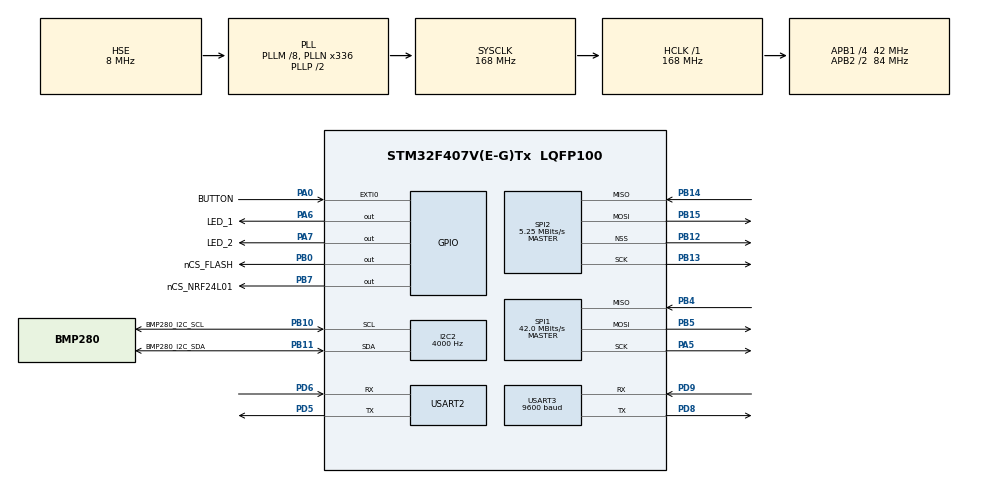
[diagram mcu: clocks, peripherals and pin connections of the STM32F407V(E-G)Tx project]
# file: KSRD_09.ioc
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FATFS._CODE_PAGE=949
FATFS._MAX_SS=4096
FATFS._USE_LFN=1
I2C2.ClockSpeed=4000
I2C2.NoStretchMode=I2C_NOSTRETCH_DISABLE
Mcu.Family=STM32F4
Mcu.Name=STM32F407V(E-G)Tx
Mcu.Package=LQFP100
NVIC.PriorityGroup=NVIC_PRIORITYGROUP_0
PA0-WKUP.GPIO_Label=BUTTON
PA0-WKUP.Signal=GPXTI0
PA13.Mode=Serial_Wire
PA13.Signal=SYS_JTMS-SWDIO
PA14.Mode=Serial_Wire
PA14.Signal=SYS_JTCK-SWCLK
PA5.Mode=Full_Duplex_Master
PA5.Signal=SPI1_SCK
PA6.GPIO_Label=LED_1
PA6.Signal=GPIO_Output
PA7.GPIO_Label=LED_2
PA7.Signal=GPIO_Output
PB0.GPIO_Label=nCS_FLASH
PB0.Signal=GPIO_Output
PB10.GPIO_Label=BMP280_I2C_SCL
PB10.GPIO_Pu=GPIO_PULLUP
PB10.Mode=I2C
PB10.Signal=I2C2_SCL
PB11.GPIO_Label=BMP280_I2C_SDA
PB11.GPIO_Pu=GPIO_PULLUP
PB11.Mode=I2C
PB11.Signal=I2C2_SDA
PB12.Mode=NSS_Signal_Hard_Output
PB12.Signal=SPI2_NSS
PB13.Mode=Full_Duplex_Master
PB13.Signal=SPI2_SCK
PB14.Mode=Full_Duplex_Master
PB14.Signal=SPI2_MISO
PB15.Mode=Full_Duplex_Master
PB15.Signal=SPI2_MOSI
PB4.Mode=Full_Duplex_Master
PB4.Signal=SPI1_MISO
PB5.Mode=Full_Duplex_Master
PB5.Signal=SPI1_MOSI
PB7.GPIO_Label=nCS_NRF24L01
PB7.Signal=GPIO_Output
PD5.Mode=Asynchronous
PD5.Signal=USART2_TX
PD6.Mode=Asynchronous
PD6.Signal=USART2_RX
PD8.Mode=Asynchronous
PD8.Signal=USART3_TX
PD9.Mode=Asynchronous
PD9.Signal=USART3_RX
PH0-OSC_IN.Mode=HSE-External-Oscillator
PH0-OSC_IN.Signal=RCC_OSC_IN
PH1-OSC_OUT.Mode=HSE-External-Oscillator
PH1-OSC_OUT.Signal=RCC_OSC_OUT
ProjectManager.HeapSize=0x2000
ProjectManager.StackSize=0x4000
ProjectManager.TargetToolchain=STM32CubeIDE
RCC.48MHZClocksFreq_Value=48000000
RCC.AHBFreq_Value=168000000
RCC.APB1CLKDivider=RCC_HCLK_DIV4
RCC.APB1Freq_Value=42000000
RCC.APB1TimFreq_Value=84000000
RCC.APB2CLKDivider=RCC_HCLK_DIV2
RCC.APB2Freq_Value=84000000
RCC.APB2TimFreq_Value=168000000
RCC.CortexFreq_Value=168000000
RCC.HCLKFreq_Value=168000000
RCC.HSE_VALUE=8000000
RCC.HSI_VALUE=16000000
RCC.LSE_VALUE=32768
RCC.PLLM=8
RCC.PLLN=336
RCC.PLLQ=7
RCC.PLLSourceVirtual=RCC_PLLSOURCE_HSE
RCC.SYSCLKFreq_VALUE=168000000
RCC.SYSCLKSource=RCC_SYSCLKSOURCE_PLLCLK
RCC.VCOOutputFreq_Value=336000000
SPI1.CRCCalculation=SPI_CRCCALCULATION_DISABLE
SPI1.CalculateBaudRate=42.0 MBits/s
SPI1.Direction=SPI_DIRECTION_2LINES
SPI1.Mode=SPI_MODE_MASTER
SPI1.VirtualType=VM_MASTER
SPI2.BaudRatePrescaler=SPI_BAUDRATEPRESCALER_8
SPI2.CalculateBaudRate=5.25 MBits/s
SPI2.Direction=SPI_DIRECTION_2LINES
SPI2.Mode=SPI_MODE_MASTER
SPI2.VirtualNSS=VM_NSSHARD
SPI2.VirtualType=VM_MASTER
USART2.VirtualMode=VM_ASYNC
USART3.BaudRate=9600
USART3.VirtualMode=VM_ASYNC
VP_FATFS_VS_Generic.Mode=User_defined
VP_RTC_VS_RTC_Activate.Mode=RTC_Enabled
board=STM32F4DISCOVERY

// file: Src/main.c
/* USER CODE BEGIN Header */
/**
  ******************************************************************************
  * @file           : main.c
  * @brief          : Main program body
  ******************************************************************************
  * @attention
  *
  * <h2><center>&copy; Copyright (c) 2022 STMicroelectronics.
  * All rights reserved.</center></h2>
  *
  * This software component is licensed by ST under Ultimate Liberty license
  * SLA0044, the "License"; You may not use this file except in compliance with
  * the License. You may obtain a copy of the License at:
  *                             www.st.com/SLA0044
  *
  ******************************************************************************
  */
/* USER CODE END Header */
#include "main.h"
#include "fatfs.h"
#include "global.h"
#include "string.h"
#include "stdio.h"

/* USER CODE BEGIN Includes */
char buffer1[512] ="Selection of VAM is set by the previous address set instruction. If the address set instruction of RAM is not performed before this instruction, the data that has been read first is invalid, as the direction of AC is not yet determined. If RAM data is read several times without RAM address instructions set before, read operation, the correct RAM data can be obtained from the second. But the first data would be incorrect, as there is no time margin to transfer RAM data. In case of DDRAM read operation The..."; //Ѕуфер данных
char buffer2[1024]="Selection of VAM is set by the previous address set instruction. If the address set instruction of RAM is not performed before this instruction, the data that has been read first is invalid, as the direction of AC is not yet determined. If RAM data is read several times without RAM address instructions set before, read operation, the correct RAM data can be obtained from the second. But the first data would be incorrect, as there is no time margin to transfer RAM data. In case of DDRAM read operation The...Selection of VAM is set by the previous address set instruction. If the address set instruction of RAM is not performed before this instruction, the data that has been read first is invalid, as the direction of AC is not yet determined. If RAM data is read several times without RAM address instructions set before, read operation, the correct RAM data can be obtained from the second. But the first data would be incorrect, as there is no time margin to transfer RAM data. In case of DDRAM read operation The..."; //Ѕуфер данных
uint8_t sect[512];

char str[16] = {0,};
uint64_t count_tic_1, count_tic_2 = 0;

/* USER CODE END Includes */

/* USER CODE BEGIN PTD */
extern void App_main(void);
/* USER CODE END PTD */

I2C_HandleTypeDef hi2c2;

RTC_HandleTypeDef hrtc;

SPI_HandleTypeDef hspi1;
SPI_HandleTypeDef hspi2;

UART_HandleTypeDef huart2;
UART_HandleTypeDef huart3;

/* USER CODE BEGIN PV */
/* Private variables ---------------------------------------------------------*/
/* Private variables ---------------------------------------------------------*/

FATFS *pfs;
FIL fil;
FRESULT fres;
DWORD fre_clust;
uint32_t totalSpace, freeSpace;
char buffer[100];
/* USER CODE END PV */

void SystemClock_Config(void);
static void MX_GPIO_Init(void);
static void MX_SPI2_Init(void);
static void MX_I2C2_Init(void);
static void MX_USART3_UART_Init(void);
static void MX_USART2_UART_Init(void);
static void MX_SPI1_Init(void);
static void MX_RTC_Init(void);
/* USER CODE BEGIN PFP */
/* Private function prototypes -----------------------------------------------*/

/* USER CODE END PFP */

int main(void)
{
  /* USER CODE BEGIN 1 */
//	Data_for_check data_check = {0};
//	Data_RouteFileTypeDef Data_RouteFile ={0};
  /* USER CODE END 1 */

  /* MCU Configuration--------------------------------------------------------*/

  /* Reset of all peripherals, Initializes the Flash interface and the Systick. */
  HAL_Init();

  /* Configure the system clock */
  SystemClock_Config();

  /* Initialize all configured peripherals */
  MX_GPIO_Init();
  MX_SPI2_Init();
  MX_FATFS_Init();
  MX_I2C2_Init();
  MX_USART3_UART_Init();
  MX_USART2_UART_Init();
  MX_SPI1_Init();
  MX_RTC_Init();
  /* USER CODE BEGIN 2 */

    uint8_t name_file[20];
	sprintf((char*)name_file,"route_%d.bin",1);
  /* USER CODE END 2 */

  /* Infinite loop */
  /* USER CODE BEGIN WHILE */
	while (1)
	{
		  HAL_Delay(500);
		  App_main();

    /* USER CODE END WHILE */

	}
}

void SystemClock_Config(void)
{
  RCC_OscInitTypeDef RCC_OscInitStruct = {0};
  RCC_ClkInitTypeDef RCC_ClkInitStruct = {0};

  /** Configure the main internal regulator output voltage
  */
  __HAL_RCC_PWR_CLK_ENABLE();
  __HAL_PWR_VOLTAGESCALING_CONFIG(PWR_REGULATOR_VOLTAGE_SCALE1);
  /** Initializes the RCC Oscillators according to the specified parameters
  * in the RCC_OscInitTypeDef structure.
  */
  RCC_OscInitStruct.OscillatorType = RCC_OSCILLATORTYPE_LSI|RCC_OSCILLATORTYPE_HSE;
  RCC_OscInitStruct.HSEState = RCC_HSE_ON;
  RCC_OscInitStruct.LSIState = RCC_LSI_ON;
  RCC_OscInitStruct.PLL.PLLState = RCC_PLL_ON;
  RCC_OscInitStruct.PLL.PLLSource = RCC_PLLSOURCE_HSE;
  RCC_OscInitStruct.PLL.PLLM = 8;
  RCC_OscInitStruct.PLL.PLLN = 336;
  RCC_OscInitStruct.PLL.PLLP = RCC_PLLP_DIV2;
  RCC_OscInitStruct.PLL.PLLQ = 7;
  if (HAL_RCC_OscConfig(&RCC_OscInitStruct) != HAL_OK)
  {
    Error_Handler();
  }
  /** Initializes the CPU, AHB and APB buses clocks
  */
  RCC_ClkInitStruct.ClockType = RCC_CLOCKTYPE_HCLK|RCC_CLOCKTYPE_SYSCLK
                              |RCC_CLOCKTYPE_PCLK1|RCC_CLOCKTYPE_PCLK2;
  RCC_ClkInitStruct.SYSCLKSource = RCC_SYSCLKSOURCE_PLLCLK;
  RCC_ClkInitStruct.AHBCLKDivider = RCC_SYSCLK_DIV1;
  RCC_ClkInitStruct.APB1CLKDivider = RCC_HCLK_DIV4;
  RCC_ClkInitStruct.APB2CLKDivider = RCC_HCLK_DIV2;

  if (HAL_RCC_ClockConfig(&RCC_ClkInitStruct, FLASH_LATENCY_5) != HAL_OK)
  {
    Error_Handler();
  }
}

static void MX_I2C2_Init(void)
{

  hi2c2.Instance = I2C2;
  hi2c2.Init.ClockSpeed = 4000;
  hi2c2.Init.DutyCycle = I2C_DUTYCYCLE_2;
  hi2c2.Init.OwnAddress1 = 0;
  hi2c2.Init.AddressingMode = I2C_ADDRESSINGMODE_7BIT;
  hi2c2.Init.DualAddressMode = I2C_DUALADDRESS_DISABLE;
  hi2c2.Init.OwnAddress2 = 0;
  hi2c2.Init.GeneralCallMode = I2C_GENERALCALL_DISABLE;
  hi2c2.Init.NoStretchMode = I2C_NOSTRETCH_DISABLE;
  if (HAL_I2C_Init(&hi2c2) != HAL_OK)
  {
    Error_Handler();
  }

}

static void MX_RTC_Init(void)
{

  /** Initialize RTC Only
  */
  hrtc.Instance = RTC;
  hrtc.Init.HourFormat = RTC_HOURFORMAT_24;
  hrtc.Init.AsynchPrediv = 127;
  hrtc.Init.SynchPrediv = 255;
  hrtc.Init.OutPut = RTC_OUTPUT_DISABLE;
  hrtc.Init.OutPutPolarity = RTC_OUTPUT_POLARITY_HIGH;
  hrtc.Init.OutPutType = RTC_OUTPUT_TYPE_OPENDRAIN;
  if (HAL_RTC_Init(&hrtc) != HAL_OK)
  {
    Error_Handler();
  }

}

static void MX_SPI1_Init(void)
{

  /* SPI1 parameter configuration*/
  hspi1.Instance = SPI1;
  hspi1.Init.Mode = SPI_MODE_MASTER;
  hspi1.Init.Direction = SPI_DIRECTION_2LINES;
  hspi1.Init.DataSize = SPI_DATASIZE_8BIT;
  hspi1.Init.CLKPolarity = SPI_POLARITY_LOW;
  hspi1.Init.CLKPhase = SPI_PHASE_1EDGE;
  hspi1.Init.NSS = SPI_NSS_SOFT;
  hspi1.Init.BaudRatePrescaler = SPI_BAUDRATEPRESCALER_2;
  hspi1.Init.FirstBit = SPI_FIRSTBIT_MSB;
  hspi1.Init.TIMode = SPI_TIMODE_DISABLE;
  hspi1.Init.CRCCalculation = SPI_CRCCALCULATION_DISABLE;
  hspi1.Init.CRCPolynomial = 10;
  if (HAL_SPI_Init(&hspi1) != HAL_OK)
  {
    Error_Handler();
  }

}

static void MX_SPI2_Init(void)
{

  /* SPI2 parameter configuration*/
  hspi2.Instance = SPI2;
  hspi2.Init.Mode = SPI_MODE_MASTER;
  hspi2.Init.Direction = SPI_DIRECTION_2LINES;
  hspi2.Init.DataSize = SPI_DATASIZE_8BIT;
  hspi2.Init.CLKPolarity = SPI_POLARITY_LOW;
  hspi2.Init.CLKPhase = SPI_PHASE_1EDGE;
  hspi2.Init.NSS = SPI_NSS_HARD_OUTPUT;
  hspi2.Init.BaudRatePrescaler = SPI_BAUDRATEPRESCALER_8;
  hspi2.Init.FirstBit = SPI_FIRSTBIT_MSB;
  hspi2.Init.TIMode = SPI_TIMODE_DISABLE;
  hspi2.Init.CRCCalculation = SPI_CRCCALCULATION_DISABLE;
  hspi2.Init.CRCPolynomial = 10;
  if (HAL_SPI_Init(&hspi2) != HAL_OK)
  {
    Error_Handler();
  }

}

static void MX_USART2_UART_Init(void)
{

  huart2.Instance = USART2;
  huart2.Init.BaudRate = 115200;
  huart2.Init.WordLength = UART_WORDLENGTH_8B;
  huart2.Init.StopBits = UART_STOPBITS_1;
  huart2.Init.Parity = UART_PARITY_NONE;
  huart2.Init.Mode = UART_MODE_TX_RX;
  huart2.Init.HwFlowCtl = UART_HWCONTROL_NONE;
  huart2.Init.OverSampling = UART_OVERSAMPLING_16;
  if (HAL_UART_Init(&huart2) != HAL_OK)
  {
    Error_Handler();
  }

}

static void MX_USART3_UART_Init(void)
{

  huart3.Instance = USART3;
  huart3.Init.BaudRate = 9600;
  huart3.Init.WordLength = UART_WORDLENGTH_8B;
  huart3.Init.StopBits = UART_STOPBITS_1;
  huart3.Init.Parity = UART_PARITY_NONE;
  huart3.Init.Mode = UART_MODE_TX_RX;
  huart3.Init.HwFlowCtl = UART_HWCONTROL_NONE;
  huart3.Init.OverSampling = UART_OVERSAMPLING_16;
  if (HAL_UART_Init(&huart3) != HAL_OK)
  {
    Error_Handler();
  }

}

static void MX_GPIO_Init(void)
{
  GPIO_InitTypeDef GPIO_InitStruct = {0};

  /* GPIO Ports Clock Enable */
  __HAL_RCC_GPIOH_CLK_ENABLE();
  __HAL_RCC_GPIOA_CLK_ENABLE();
  __HAL_RCC_GPIOB_CLK_ENABLE();
  __HAL_RCC_GPIOD_CLK_ENABLE();

  /*Configure GPIO pin Output Level */
  HAL_GPIO_WritePin(GPIOA, LED_1_Pin|LED_2_Pin, GPIO_PIN_RESET);

  /*Configure GPIO pin Output Level */
  HAL_GPIO_WritePin(GPIOB, nCS_FLASH_Pin|nCS_NRF24L01_Pin, GPIO_PIN_RESET);

  /*Configure GPIO pin : BUTTON_Pin */
  GPIO_InitStruct.Pin = BUTTON_Pin;
  GPIO_InitStruct.Mode = GPIO_MODE_IT_RISING;
  GPIO_InitStruct.Pull = GPIO_NOPULL;
  HAL_GPIO_Init(BUTTON_GPIO_Port, &GPIO_InitStruct);

  /*Configure GPIO pins : LED_1_Pin LED_2_Pin */
  GPIO_InitStruct.Pin = LED_1_Pin|LED_2_Pin;
  GPIO_InitStruct.Mode = GPIO_MODE_OUTPUT_PP;
  GPIO_InitStruct.Pull = GPIO_NOPULL;
  GPIO_InitStruct.Speed = GPIO_SPEED_FREQ_LOW;
  HAL_GPIO_Init(GPIOA, &GPIO_InitStruct);

  /*Configure GPIO pins : nCS_FLASH_Pin nCS_NRF24L01_Pin */
  GPIO_InitStruct.Pin = nCS_FLASH_Pin|nCS_NRF24L01_Pin;
  GPIO_InitStruct.Mode = GPIO_MODE_OUTPUT_PP;
  GPIO_InitStruct.Pull = GPIO_NOPULL;
  GPIO_InitStruct.Speed = GPIO_SPEED_FREQ_LOW;
  HAL_GPIO_Init(GPIOB, &GPIO_InitStruct);

}

/* USER CODE BEGIN 4 */
//void MakeFile(TYPE_FILE type, const TCHAR* nameFile, const void* inStruct, uint32_t sizeStruct)
//{
//	uint32_t res= f_mount(&SDFatFs,(TCHAR const*)USERPath,1);
//	uint32_t byteswritten;
//	if(res!=FR_OK)
//	{
//		Error_Handler();
//	}
//	else
//	{
//		if(f_open(&MyFile,(const TCHAR*)nameFile,FA_CREATE_ALWAYS|FA_WRITE)!=FR_OK)
//		{
//			Error_Handler();
//		}
//		else
//		{
//			res=f_write(&MyFile,(const void*) &inStruct, sizeStruct, (void*)&byteswritten);
//			if((byteswritten==0)||(res!=FR_OK))
//			{
//				Error_Handler();
//			}
//			f_close(&MyFile);
//		}
//	}
//	return res;
//}

//void do_it(const TCHAR* _name_file,const void* inStruct, uint32_t sizeStruct )
//{
//	uint32_t res= f_mount(&SDFatFs,(TCHAR const*)USERPath,1);
//		  if(res!=FR_OK)
//		  {
//		    Error_Handler();
//		  }
//		  else
//		  {
//			uint8_t name_file[20];//=sprintf("route_%d.bin",i);
//			//SCB_DEMCR |= CoreDebug_DEMCR_TRCENA_Msk;// разрешаем использовать DWT
//			//DWT_CONTROL|= DWT_CTRL_CYCCNTENA_Msk; // включаем счётчик
//			///DWT_CYCCNT = 0;// обнуляем счётчик
//			for(int i=0;i<200;i++)
//			{
//
//				sprintf((char*)_name_file,"route_%d.bin",i);
//				//count_tic_1 = DWT_CYCCNT; // кол-во тактов
//				//strcpy(name_file,"route_",(char)i);
//				 if(f_open(&MyFile,(const TCHAR*)_name_file,FA_CREATE_ALWAYS|FA_WRITE)!=FR_OK)
//				 {
//					 Error_Handler();
//				 }
//				 else
//				 {
//					//uint32_t sizeP = sizeof(inStruct)/1;//512+512-1;//
//					res=f_write(&MyFile,(const void*)inStruct,sizeStruct,(void*)&byteswritten);
//				    if((byteswritten==0)||(res!=FR_OK))
//				    {
//				    	Error_Handler();
//				    }
//				    f_close(&MyFile);
//				 }
//				// count_tic_2 = DWT_CYCCNT; // кол-во тактов
//			}
//			//count_tic_2 = DWT_CYCCNT; // кол-во тактов
//		  }
//}

//static uint32_t MakeFile(TYPE_FILE type, uint8_t* nameFile, void* inStruct, uint32_t sizeStruct)
//{
//	uint32_t res= f_mount(&SDFatFs,(TCHAR const*)USERPath,1);
//	uint32_t byteswritten;
//	if(res!=FR_OK)
//	{
//		Error_Handler();
//	}
//	else
//	{
//		if(f_open(&MyFile,(const TCHAR*)nameFile,FA_CREATE_ALWAYS|FA_WRITE)!=FR_OK)
//		{
//			Error_Handler();
//		}
//		else
//		{
//			res=f_write(&MyFile,(const void*)&inStruct, sizeStruct, (void*)&byteswritten);
//			if((byteswritten==0)||(res!=FR_OK))
//			{
//				Error_Handler();
//			}
//			f_close(&MyFile);
//		}
//	}
//	return res;
//}
/* USER CODE END 4 */

void Error_Handler(void)
{
	while(1)
	{
	}
}

/************************ (C) COPYRIGHT STMicroelectronics *****END OF FILE****/
